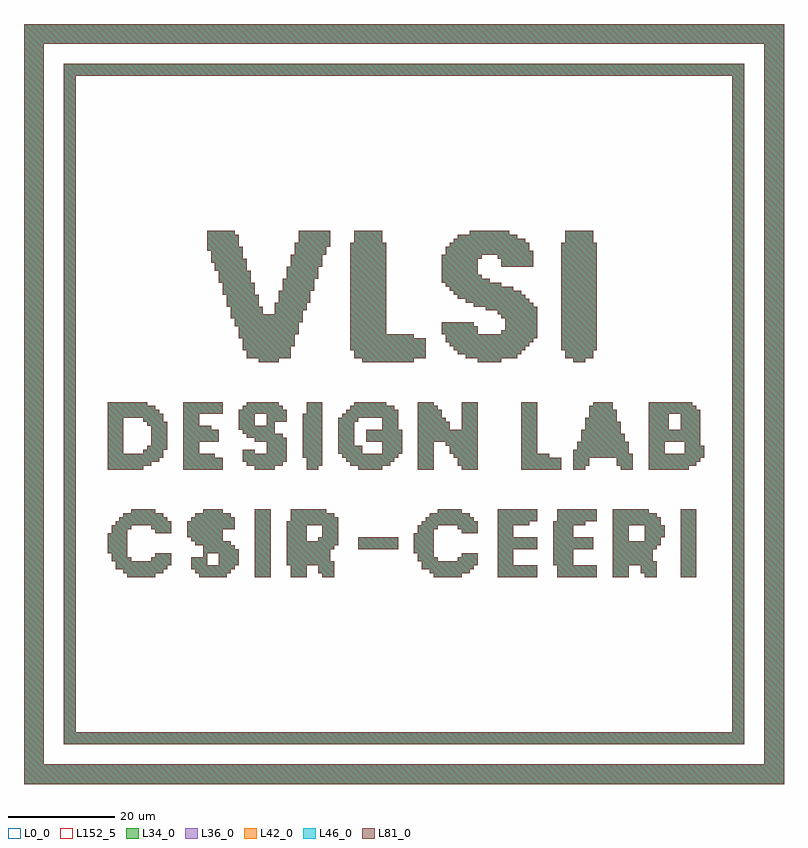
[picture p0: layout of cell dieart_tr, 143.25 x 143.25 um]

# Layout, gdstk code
import gdstk
lib = gdstk.Library(unit=1e-6, precision=1e-09)
def R(c, l, rs):  # rectangles x0, y0, x1, y1
    for r in rs: c.add(gdstk.rectangle(r[:2], r[2:], *l))
def A(c, l, x, y, w, h, nx, ny, dx, dy):  # array of equal rectangles
    R(c, l, [(x+i*dx, y+j*dy, x+i*dx+w, y+j*dy+h) for i in range(nx) for j in range(ny)])
L0_0 = (0, 0)
L34_0 = (34, 0)
L36_0 = (36, 0)
L42_0 = (42, 0)
L46_0 = (46, 0)
L81_0 = (81, 0)
L152_5 = (152, 5)

dieart_tr = lib.new_cell('dieart_tr')
R(dieart_tr, L0_0, [(0,0,143.25,143.25)])
A(dieart_tr, L34_0, 89.25, 39, 7.5, 2.25, 1, 3, 0, 5.25)
A(dieart_tr, L34_0, 32.25, 39.75, 6.75, 0.75, 1, 3, 0, 5.25)
R(dieart_tr, L34_0, [(0,0,143.25,3.75), (0,3.75,3.75,139.5), (139.5,3.75,143.25,139.5), (7.5,7.5,135.75,9.75), (7.5,9.75,9.75,133.5), (133.5,9.75,135.75,133.5), (19.5,39,24.75,39.75), (33,39,38.25,39.75), (43.5,39,46.5,51.75), (50.25,39,53.25,41.25), (56.25,39,58.5,39.75), (77.25,39,82.5,39.75), (100.5,39,108,41.25), (111,39,114,41.25), (117,39,119.25,39.75), (123.75,39,126.75,51.75), (18.75,39.75,26.25,40.5), (55.5,39.75,58.5,41.25), (76.5,39.75,84,40.5), (116.25,39.75,119.25,41.25), (17.25,40.5,27,41.25), (31.5,40.5,39.75,41.25), (75,40.5,84.75,41.25), (17.25,41.25,27.75,42), (31.5,41.25,34.5,42.75), (36.75,41.25,40.5,43.5), (49.5,41.25,58.5,42), (75,41.25,85.5,42), (89.25,41.25,92.25,44.25), (99.75,41.25,103.5,44.25), (111,41.25,119.25,42), (16.5,42,20.25,42.75), (24,42,27.75,42.75), (49.5,42,57.75,44.25), (74.25,42,78,42.75), (81.75,42,85.5,42.75), (111,42,118.5,44.25), (16.5,42.75,19.5,43.5), (24.75,42.75,27.75,43.5), (33.75,42.75,34.5,43.5), (74.25,42.75,77.25,43.5), (82.5,42.75,85.5,43.5), (15.75,43.5,19.5,47.25), (33.75,43.5,40.5,44.25), (73.5,43.5,77.25,47.25), (33.75,44.25,39.75,45), (49.5,44.25,58.5,45), (63,44.25,70.5,46.5), (99.75,44.25,107.25,46.5), (111,44.25,119.25,45), (49.5,45,59.25,45.75), (111,45,120,45.75), (31.5,45.75,37.5,46.5), (49.5,45.75,53.25,48.75), (55.5,45.75,59.25,46.5), (111,45.75,114,48.75), (117,45.75,120,46.5), (30.75,46.5,37.5,48), (56.25,46.5,59.25,48.75), (89.25,46.5,92.25,48.75), (99.75,46.5,103.5,48.75), (117,46.5,120.75,48.75), (16.5,47.25,19.5,48), (24.75,47.25,27.75,48), (74.25,47.25,77.25,48), (82.5,47.25,85.5,48), (16.5,48,20.25,48.75), (24,48,27.75,48.75), (30.75,48,39.75,49.5), (74.25,48,78,48.75), (81.75,48,85.5,48.75), (17.25,48.75,27.75,49.5), (49.5,48.75,59.25,49.5), (75,48.75,85.5,49.5), (89.25,48.75,95.25,49.5), (99.75,48.75,105.75,49.5), (111,48.75,120,50.25), (18,49.5,27,50.25), (31.5,49.5,39.75,50.25), (50.25,49.5,59.25,50.25), (75.75,49.5,84.75,50.25), (100.5,49.5,108,51.75), (18.75,50.25,26.25,51), (50.25,50.25,58.5,51), (76.5,50.25,84,51), (111,50.25,119.25,51), (20.25,51,24.75,51.75), (33.75,51,37.5,51.75), (50.25,51,57,51.75), (78,51,82.5,51.75), (111,51,117.75,51.75), (15.75,59.25,22.5,60), (30,59.25,37.5,61.5), (43.5,59.25,47.25,60), (53.25,59.25,55.5,60), (63,59.25,67.5,60), (74.25,59.25,77.25,64.5), (82.5,59.25,85.5,60), (93.75,59.25,101.25,61.5), (103.5,59.25,105.75,60), (112.5,59.25,114.75,60), (117.75,59.25,125.25,60), (15.75,60,24,60.75), (42,60,48.75,60.75), (53.25,60,56.25,61.5), (61.5,60,69,60.75), (81.75,60,85.5,61.5), (103.5,60,106.5,61.5), (111.75,60,114.75,61.5), (117.75,60,126.75,60.75), (15.75,60.75,25.5,61.5), (41.25,60.75,49.5,62.25), (60.75,60.75,69.75,61.5), (117.75,60.75,127.5,61.5), (15.75,61.5,26.25,62.25), (30,61.5,36,62.25), (52.5,61.5,56.25,69.75), (60,61.5,70.5,62.25), (81,61.5,85.5,62.25), (93.75,61.5,99,62.25), (103.5,61.5,114.75,62.25), (117.75,61.5,128.25,62.25), (15.75,62.25,18.75,69), (22.5,62.25,26.25,63), (30,62.25,33,64.5), (41.25,62.25,43.5,63), (45.75,62.25,49.5,64.5), (59.25,62.25,63.75,63.75), (67.5,62.25,71.25,64.5), (80.25,62.25,85.5,63.75), (93.75,62.25,96.75,72), (103.5,62.25,114,63), (117.75,62.25,120.75,64.5), (124.5,62.25,128.25,63.75), (23.25,63,27,63.75), (104.25,63,114,64.5), (24,63.75,27,67.5), (59.25,63.75,62.25,68.25), (79.5,63.75,85.5,64.5), (124.5,63.75,127.5,64.5), (30,64.5,36.75,66.75), (43.5,64.5,49.5,65.25), (64.5,64.5,71.25,66.75), (74.25,64.5,85.5,66.75), (105,64.5,113.25,66), (117.75,64.5,127.5,66.75), (42,65.25,48.75,66), (41.25,66,47.25,66.75), (105,66,112.5,66.75), (30,66.75,35.25,67.5), (40.5,66.75,47.25,67.5), (67.5,66.75,70.5,69), (74.25,66.75,80.25,68.25), (82.5,66.75,85.5,72), (105.75,66.75,112.5,68.25), (117.75,66.75,121.5,69.75), (123.75,66.75,127.5,69.75), (23.25,67.5,27,68.25), (30,67.5,33,69.75), (40.5,67.5,43.5,69.75), (45.75,67.5,47.25,68.25), (22.5,68.25,26.25,69), (45.75,68.25,49.5,69.75), (59.25,68.25,63,69), (74.25,68.25,79.5,69), (105.75,68.25,111.75,69), (15.75,69,26.25,69.75), (60,69,70.5,69.75), (74.25,69,78.75,70.5), (106.5,69,111.75,70.5), (15.75,69.75,25.5,70.5), (30,69.75,37.5,72), (40.5,69.75,49.5,70.5), (53.25,69.75,56.25,72), (60.75,69.75,70.5,70.5), (117.75,69.75,127.5,70.5), (15.75,70.5,24.75,71.25), (41.25,70.5,48.75,71.25), (61.5,70.5,69.75,71.25), (74.25,70.5,78,71.25), (106.5,70.5,111,71.25), (117.75,70.5,126.75,71.25), (15.75,71.25,23.25,72), (42,71.25,48,72), (62.25,71.25,68.25,72), (74.25,71.25,77.25,72), (107.25,71.25,111,72), (117.75,71.25,126,72), (44.25,79.5,48,80.25), (63.75,79.5,73.5,80.25), (85.5,79.5,90,80.25), (103.5,79.5,105.75,80.25), (42,80.25,50.25,81.75), (62.25,80.25,75.75,81.75), (83.25,80.25,93,81), (102,80.25,107.25,81.75), (81.75,81,93.75,81.75), (41.25,81.75,50.25,82.5), (61.5,81.75,75.75,84), (81,81.75,94.5,82.5), (101.25,81.75,108,102), (41.25,82.5,51,84), (80.25,82.5,95.25,83.25), (79.5,83.25,96,84), (40.5,84,51,84.75), (61.5,84,73.5,84.75), (79.5,84,96.75,84.75), (40.5,84.75,51.75,86.25), (61.5,84.75,68.25,102), (78.75,84.75,85.5,86.25), (90,84.75,96.75,85.5), (90.75,85.5,96.75,87.75), (39.75,86.25,51.75,87), (78.75,86.25,84.75,87), (39.75,87,52.5,87.75), (39,87.75,52.5,88.5), (90,87.75,96.75,88.5), (39,88.5,45,90), (47.25,88.5,52.5,89.25), (89.25,88.5,96.75,89.25), (47.25,89.25,53.25,90.75), (87,89.25,96.75,90), (38.25,90,44.25,92.25), (84.75,90,96,90.75), (48,90.75,54,93), (83.25,90.75,95.25,91.5), (81.75,91.5,94.5,92.25), (37.5,92.25,43.5,94.5), (81,92.25,93.75,93), (48.75,93,54.75,95.25), (80.25,93,92.25,93.75), (79.5,93.75,90,94.5), (36.75,94.5,42.75,96.75), (78.75,94.5,87.75,95.25), (49.5,95.25,55.5,97.5), (78.75,95.25,86.25,96), (78.75,96,85.5,99), (36,96.75,42,98.25), (50.25,97.5,56.25,99.75), (90,97.5,96,99), (35.25,98.25,42,99), (35.25,99,41.25,100.5), (78.75,99,86.25,99.75), (89.25,99,96,99.75), (51,99.75,57,101.25), (79.5,99.75,96,100.5), (34.5,100.5,41.25,101.25), (79.5,100.5,95.25,101.25), (34.5,101.25,40.5,103.5), (51,101.25,57.75,102), (80.25,101.25,95.25,102), (51.75,102,57.75,104.25), (62.25,102,67.5,104.25), (81,102,94.5,102.75), (102,102,107.25,104.25), (81.75,102.75,93,103.5), (34.5,103.5,39.75,104.25), (84,103.5,91.5,104.25), (7.5,133.5,135.75,135.75), (0,139.5,143.25,143.25)])
A(dieart_tr, L36_0, 89.25, 39, 7.5, 2.25, 1, 3, 0, 5.25)
A(dieart_tr, L36_0, 32.25, 39.75, 6.75, 0.75, 1, 3, 0, 5.25)
R(dieart_tr, L36_0, [(0,0,143.25,3.75), (0,3.75,3.75,139.5), (139.5,3.75,143.25,139.5), (7.5,7.5,135.75,9.75), (7.5,9.75,9.75,133.5), (133.5,9.75,135.75,133.5), (19.5,39,24.75,39.75), (33,39,38.25,39.75), (43.5,39,46.5,51.75), (50.25,39,53.25,41.25), (56.25,39,58.5,39.75), (77.25,39,82.5,39.75), (100.5,39,108,41.25), (111,39,114,41.25), (117,39,119.25,39.75), (123.75,39,126.75,51.75), (18.75,39.75,26.25,40.5), (55.5,39.75,58.5,41.25), (76.5,39.75,84,40.5), (116.25,39.75,119.25,41.25), (17.25,40.5,27,41.25), (31.5,40.5,39.75,41.25), (75,40.5,84.75,41.25), (17.25,41.25,27.75,42), (31.5,41.25,34.5,42.75), (36.75,41.25,40.5,43.5), (49.5,41.25,58.5,42), (75,41.25,85.5,42), (89.25,41.25,92.25,44.25), (99.75,41.25,103.5,44.25), (111,41.25,119.25,42), (16.5,42,20.25,42.75), (24,42,27.75,42.75), (49.5,42,57.75,44.25), (74.25,42,78,42.75), (81.75,42,85.5,42.75), (111,42,118.5,44.25), (16.5,42.75,19.5,43.5), (24.75,42.75,27.75,43.5), (33.75,42.75,34.5,43.5), (74.25,42.75,77.25,43.5), (82.5,42.75,85.5,43.5), (15.75,43.5,19.5,47.25), (33.75,43.5,40.5,44.25), (73.5,43.5,77.25,47.25), (33.75,44.25,39.75,45), (49.5,44.25,58.5,45), (63,44.25,70.5,46.5), (99.75,44.25,107.25,46.5), (111,44.25,119.25,45), (49.5,45,59.25,45.75), (111,45,120,45.75), (31.5,45.75,37.5,46.5), (49.5,45.75,53.25,48.75), (55.5,45.75,59.25,46.5), (111,45.75,114,48.75), (117,45.75,120,46.5), (30.75,46.5,37.5,48), (56.25,46.5,59.25,48.75), (89.25,46.5,92.25,48.75), (99.75,46.5,103.5,48.75), (117,46.5,120.75,48.75), (16.5,47.25,19.5,48), (24.75,47.25,27.75,48), (74.25,47.25,77.25,48), (82.5,47.25,85.5,48), (16.5,48,20.25,48.75), (24,48,27.75,48.75), (30.75,48,39.75,49.5), (74.25,48,78,48.75), (81.75,48,85.5,48.75), (17.25,48.75,27.75,49.5), (49.5,48.75,59.25,49.5), (75,48.75,85.5,49.5), (89.25,48.75,95.25,49.5), (99.75,48.75,105.75,49.5), (111,48.75,120,50.25), (18,49.5,27,50.25), (31.5,49.5,39.75,50.25), (50.25,49.5,59.25,50.25), (75.75,49.5,84.75,50.25), (100.5,49.5,108,51.75), (18.75,50.25,26.25,51), (50.25,50.25,58.5,51), (76.5,50.25,84,51), (111,50.25,119.25,51), (20.25,51,24.75,51.75), (33.75,51,37.5,51.75), (50.25,51,57,51.75), (78,51,82.5,51.75), (111,51,117.75,51.75), (15.75,59.25,22.5,60), (30,59.25,37.5,61.5), (43.5,59.25,47.25,60), (53.25,59.25,55.5,60), (63,59.25,67.5,60), (74.25,59.25,77.25,64.5), (82.5,59.25,85.5,60), (93.75,59.25,101.25,61.5), (103.5,59.25,105.75,60), (112.5,59.25,114.75,60), (117.75,59.25,125.25,60), (15.75,60,24,60.75), (42,60,48.75,60.75), (53.25,60,56.25,61.5), (61.5,60,69,60.75), (81.75,60,85.5,61.5), (103.5,60,106.5,61.5), (111.75,60,114.75,61.5), (117.75,60,126.75,60.75), (15.75,60.75,25.5,61.5), (41.25,60.75,49.5,62.25), (60.75,60.75,69.75,61.5), (117.75,60.75,127.5,61.5), (15.75,61.5,26.25,62.25), (30,61.5,36,62.25), (52.5,61.5,56.25,69.75), (60,61.5,70.5,62.25), (81,61.5,85.5,62.25), (93.75,61.5,99,62.25), (103.5,61.5,114.75,62.25), (117.75,61.5,128.25,62.25), (15.75,62.25,18.75,69), (22.5,62.25,26.25,63), (30,62.25,33,64.5), (41.25,62.25,43.5,63), (45.75,62.25,49.5,64.5), (59.25,62.25,63.75,63.75), (67.5,62.25,71.25,64.5), (80.25,62.25,85.5,63.75), (93.75,62.25,96.75,72), (103.5,62.25,114,63), (117.75,62.25,120.75,64.5), (124.5,62.25,128.25,63.75), (23.25,63,27,63.75), (104.25,63,114,64.5), (24,63.75,27,67.5), (59.25,63.75,62.25,68.25), (79.5,63.75,85.5,64.5), (124.5,63.75,127.5,64.5), (30,64.5,36.75,66.75), (43.5,64.5,49.5,65.25), (64.5,64.5,71.25,66.75), (74.25,64.5,85.5,66.75), (105,64.5,113.25,66), (117.75,64.5,127.5,66.75), (42,65.25,48.75,66), (41.25,66,47.25,66.75), (105,66,112.5,66.75), (30,66.75,35.25,67.5), (40.5,66.75,47.25,67.5), (67.5,66.75,70.5,69), (74.25,66.75,80.25,68.25), (82.5,66.75,85.5,72), (105.75,66.75,112.5,68.25), (117.75,66.75,121.5,69.75), (123.75,66.75,127.5,69.75), (23.25,67.5,27,68.25), (30,67.5,33,69.75), (40.5,67.5,43.5,69.75), (45.75,67.5,47.25,68.25), (22.5,68.25,26.25,69), (45.75,68.25,49.5,69.75), (59.25,68.25,63,69), (74.25,68.25,79.5,69), (105.75,68.25,111.75,69), (15.75,69,26.25,69.75), (60,69,70.5,69.75), (74.25,69,78.75,70.5), (106.5,69,111.75,70.5), (15.75,69.75,25.5,70.5), (30,69.75,37.5,72), (40.5,69.75,49.5,70.5), (53.25,69.75,56.25,72), (60.75,69.75,70.5,70.5), (117.75,69.75,127.5,70.5), (15.75,70.5,24.75,71.25), (41.25,70.5,48.75,71.25), (61.5,70.5,69.75,71.25), (74.25,70.5,78,71.25), (106.5,70.5,111,71.25), (117.75,70.5,126.75,71.25), (15.75,71.25,23.25,72), (42,71.25,48,72), (62.25,71.25,68.25,72), (74.25,71.25,77.25,72), (107.25,71.25,111,72), (117.75,71.25,126,72), (44.25,79.5,48,80.25), (63.75,79.5,73.5,80.25), (85.5,79.5,90,80.25), (103.5,79.5,105.75,80.25), (42,80.25,50.25,81.75), (62.25,80.25,75.75,81.75), (83.25,80.25,93,81), (102,80.25,107.25,81.75), (81.75,81,93.75,81.75), (41.25,81.75,50.25,82.5), (61.5,81.75,75.75,84), (81,81.75,94.5,82.5), (101.25,81.75,108,102), (41.25,82.5,51,84), (80.25,82.5,95.25,83.25), (79.5,83.25,96,84), (40.5,84,51,84.75), (61.5,84,73.5,84.75), (79.5,84,96.75,84.75), (40.5,84.75,51.75,86.25), (61.5,84.75,68.25,102), (78.75,84.75,85.5,86.25), (90,84.75,96.75,85.5), (90.75,85.5,96.75,87.75), (39.75,86.25,51.75,87), (78.75,86.25,84.75,87), (39.75,87,52.5,87.75), (39,87.75,52.5,88.5), (90,87.75,96.75,88.5), (39,88.5,45,90), (47.25,88.5,52.5,89.25), (89.25,88.5,96.75,89.25), (47.25,89.25,53.25,90.75), (87,89.25,96.75,90), (38.25,90,44.25,92.25), (84.75,90,96,90.75), (48,90.75,54,93), (83.25,90.75,95.25,91.5), (81.75,91.5,94.5,92.25), (37.5,92.25,43.5,94.5), (81,92.25,93.75,93), (48.75,93,54.75,95.25), (80.25,93,92.25,93.75), (79.5,93.75,90,94.5), (36.75,94.5,42.75,96.75), (78.75,94.5,87.75,95.25), (49.5,95.25,55.5,97.5), (78.75,95.25,86.25,96), (78.75,96,85.5,99), (36,96.75,42,98.25), (50.25,97.5,56.25,99.75), (90,97.5,96,99), (35.25,98.25,42,99), (35.25,99,41.25,100.5), (78.75,99,86.25,99.75), (89.25,99,96,99.75), (51,99.75,57,101.25), (79.5,99.75,96,100.5), (34.5,100.5,41.25,101.25), (79.5,100.5,95.25,101.25), (34.5,101.25,40.5,103.5), (51,101.25,57.75,102), (80.25,101.25,95.25,102), (51.75,102,57.75,104.25), (62.25,102,67.5,104.25), (81,102,94.5,102.75), (102,102,107.25,104.25), (81.75,102.75,93,103.5), (34.5,103.5,39.75,104.25), (84,103.5,91.5,104.25), (7.5,133.5,135.75,135.75), (0,139.5,143.25,143.25)])
A(dieart_tr, L42_0, 89.25, 39, 7.5, 2.25, 1, 3, 0, 5.25)
A(dieart_tr, L42_0, 32.25, 39.75, 6.75, 0.75, 1, 3, 0, 5.25)
R(dieart_tr, L42_0, [(0,0,143.25,3.75), (0,3.75,3.75,139.5), (139.5,3.75,143.25,139.5), (7.5,7.5,135.75,9.75), (7.5,9.75,9.75,133.5), (133.5,9.75,135.75,133.5), (19.5,39,24.75,39.75), (33,39,38.25,39.75), (43.5,39,46.5,51.75), (50.25,39,53.25,41.25), (56.25,39,58.5,39.75), (77.25,39,82.5,39.75), (100.5,39,108,41.25), (111,39,114,41.25), (117,39,119.25,39.75), (123.75,39,126.75,51.75), (18.75,39.75,26.25,40.5), (55.5,39.75,58.5,41.25), (76.5,39.75,84,40.5), (116.25,39.75,119.25,41.25), (17.25,40.5,27,41.25), (31.5,40.5,39.75,41.25), (75,40.5,84.75,41.25), (17.25,41.25,27.75,42), (31.5,41.25,34.5,42.75), (36.75,41.25,40.5,43.5), (49.5,41.25,58.5,42), (75,41.25,85.5,42), (89.25,41.25,92.25,44.25), (99.75,41.25,103.5,44.25), (111,41.25,119.25,42), (16.5,42,20.25,42.75), (24,42,27.75,42.75), (49.5,42,57.75,44.25), (74.25,42,78,42.75), (81.75,42,85.5,42.75), (111,42,118.5,44.25), (16.5,42.75,19.5,43.5), (24.75,42.75,27.75,43.5), (33.75,42.75,34.5,43.5), (74.25,42.75,77.25,43.5), (82.5,42.75,85.5,43.5), (15.75,43.5,19.5,47.25), (33.75,43.5,40.5,44.25), (73.5,43.5,77.25,47.25), (33.75,44.25,39.75,45), (49.5,44.25,58.5,45), (63,44.25,70.5,46.5), (99.75,44.25,107.25,46.5), (111,44.25,119.25,45), (49.5,45,59.25,45.75), (111,45,120,45.75), (31.5,45.75,37.5,46.5), (49.5,45.75,53.25,48.75), (55.5,45.75,59.25,46.5), (111,45.75,114,48.75), (117,45.75,120,46.5), (30.75,46.5,37.5,48), (56.25,46.5,59.25,48.75), (89.25,46.5,92.25,48.75), (99.75,46.5,103.5,48.75), (117,46.5,120.75,48.75), (16.5,47.25,19.5,48), (24.75,47.25,27.75,48), (74.25,47.25,77.25,48), (82.5,47.25,85.5,48), (16.5,48,20.25,48.75), (24,48,27.75,48.75), (30.75,48,39.75,49.5), (74.25,48,78,48.75), (81.75,48,85.5,48.75), (17.25,48.75,27.75,49.5), (49.5,48.75,59.25,49.5), (75,48.75,85.5,49.5), (89.25,48.75,95.25,49.5), (99.75,48.75,105.75,49.5), (111,48.75,120,50.25), (18,49.5,27,50.25), (31.5,49.5,39.75,50.25), (50.25,49.5,59.25,50.25), (75.75,49.5,84.75,50.25), (100.5,49.5,108,51.75), (18.75,50.25,26.25,51), (50.25,50.25,58.5,51), (76.5,50.25,84,51), (111,50.25,119.25,51), (20.25,51,24.75,51.75), (33.75,51,37.5,51.75), (50.25,51,57,51.75), (78,51,82.5,51.75), (111,51,117.75,51.75), (15.75,59.25,22.5,60), (30,59.25,37.5,61.5), (43.5,59.25,47.25,60), (53.25,59.25,55.5,60), (63,59.25,67.5,60), (74.25,59.25,77.25,64.5), (82.5,59.25,85.5,60), (93.75,59.25,101.25,61.5), (103.5,59.25,105.75,60), (112.5,59.25,114.75,60), (117.75,59.25,125.25,60), (15.75,60,24,60.75), (42,60,48.75,60.75), (53.25,60,56.25,61.5), (61.5,60,69,60.75), (81.75,60,85.5,61.5), (103.5,60,106.5,61.5), (111.75,60,114.75,61.5), (117.75,60,126.75,60.75), (15.75,60.75,25.5,61.5), (41.25,60.75,49.5,62.25), (60.75,60.75,69.75,61.5), (117.75,60.75,127.5,61.5), (15.75,61.5,26.25,62.25), (30,61.5,36,62.25), (52.5,61.5,56.25,69.75), (60,61.5,70.5,62.25), (81,61.5,85.5,62.25), (93.75,61.5,99,62.25), (103.5,61.5,114.75,62.25), (117.75,61.5,128.25,62.25), (15.75,62.25,18.75,69), (22.5,62.25,26.25,63), (30,62.25,33,64.5), (41.25,62.25,43.5,63), (45.75,62.25,49.5,64.5), (59.25,62.25,63.75,63.75), (67.5,62.25,71.25,64.5), (80.25,62.25,85.5,63.75), (93.75,62.25,96.75,72), (103.5,62.25,114,63), (117.75,62.25,120.75,64.5), (124.5,62.25,128.25,63.75), (23.25,63,27,63.75), (104.25,63,114,64.5), (24,63.75,27,67.5), (59.25,63.75,62.25,68.25), (79.5,63.75,85.5,64.5), (124.5,63.75,127.5,64.5), (30,64.5,36.75,66.75), (43.5,64.5,49.5,65.25), (64.5,64.5,71.25,66.75), (74.25,64.5,85.5,66.75), (105,64.5,113.25,66), (117.75,64.5,127.5,66.75), (42,65.25,48.75,66), (41.25,66,47.25,66.75), (105,66,112.5,66.75), (30,66.75,35.25,67.5), (40.5,66.75,47.25,67.5), (67.5,66.75,70.5,69), (74.25,66.75,80.25,68.25), (82.5,66.75,85.5,72), (105.75,66.75,112.5,68.25), (117.75,66.75,121.5,69.75), (123.75,66.75,127.5,69.75), (23.25,67.5,27,68.25), (30,67.5,33,69.75), (40.5,67.5,43.5,69.75), (45.75,67.5,47.25,68.25), (22.5,68.25,26.25,69), (45.75,68.25,49.5,69.75), (59.25,68.25,63,69), (74.25,68.25,79.5,69), (105.75,68.25,111.75,69), (15.75,69,26.25,69.75), (60,69,70.5,69.75), (74.25,69,78.75,70.5), (106.5,69,111.75,70.5), (15.75,69.75,25.5,70.5), (30,69.75,37.5,72), (40.5,69.75,49.5,70.5), (53.25,69.75,56.25,72), (60.75,69.75,70.5,70.5), (117.75,69.75,127.5,70.5), (15.75,70.5,24.75,71.25), (41.25,70.5,48.75,71.25), (61.5,70.5,69.75,71.25), (74.25,70.5,78,71.25), (106.5,70.5,111,71.25), (117.75,70.5,126.75,71.25), (15.75,71.25,23.25,72), (42,71.25,48,72), (62.25,71.25,68.25,72), (74.25,71.25,77.25,72), (107.25,71.25,111,72), (117.75,71.25,126,72), (44.25,79.5,48,80.25), (63.75,79.5,73.5,80.25), (85.5,79.5,90,80.25), (103.5,79.5,105.75,80.25), (42,80.25,50.25,81.75), (62.25,80.25,75.75,81.75), (83.25,80.25,93,81), (102,80.25,107.25,81.75), (81.75,81,93.75,81.75), (41.25,81.75,50.25,82.5), (61.5,81.75,75.75,84), (81,81.75,94.5,82.5), (101.25,81.75,108,102), (41.25,82.5,51,84), (80.25,82.5,95.25,83.25), (79.5,83.25,96,84), (40.5,84,51,84.75), (61.5,84,73.5,84.75), (79.5,84,96.75,84.75), (40.5,84.75,51.75,86.25), (61.5,84.75,68.25,102), (78.75,84.75,85.5,86.25), (90,84.75,96.75,85.5), (90.75,85.5,96.75,87.75), (39.75,86.25,51.75,87), (78.75,86.25,84.75,87), (39.75,87,52.5,87.75), (39,87.75,52.5,88.5), (90,87.75,96.75,88.5), (39,88.5,45,90), (47.25,88.5,52.5,89.25), (89.25,88.5,96.75,89.25), (47.25,89.25,53.25,90.75), (87,89.25,96.75,90), (38.25,90,44.25,92.25), (84.75,90,96,90.75), (48,90.75,54,93), (83.25,90.75,95.25,91.5), (81.75,91.5,94.5,92.25), (37.5,92.25,43.5,94.5), (81,92.25,93.75,93), (48.75,93,54.75,95.25), (80.25,93,92.25,93.75), (79.5,93.75,90,94.5), (36.75,94.5,42.75,96.75), (78.75,94.5,87.75,95.25), (49.5,95.25,55.5,97.5), (78.75,95.25,86.25,96), (78.75,96,85.5,99), (36,96.75,42,98.25), (50.25,97.5,56.25,99.75), (90,97.5,96,99), (35.25,98.25,42,99), (35.25,99,41.25,100.5), (78.75,99,86.25,99.75), (89.25,99,96,99.75), (51,99.75,57,101.25), (79.5,99.75,96,100.5), (34.5,100.5,41.25,101.25), (79.5,100.5,95.25,101.25), (34.5,101.25,40.5,103.5), (51,101.25,57.75,102), (80.25,101.25,95.25,102), (51.75,102,57.75,104.25), (62.25,102,67.5,104.25), (81,102,94.5,102.75), (102,102,107.25,104.25), (81.75,102.75,93,103.5), (34.5,103.5,39.75,104.25), (84,103.5,91.5,104.25), (7.5,133.5,135.75,135.75), (0,139.5,143.25,143.25)])
A(dieart_tr, L46_0, 89.25, 39, 7.5, 2.25, 1, 3, 0, 5.25)
A(dieart_tr, L46_0, 32.25, 39.75, 6.75, 0.75, 1, 3, 0, 5.25)
R(dieart_tr, L46_0, [(0,0,143.25,3.75), (0,3.75,3.75,139.5), (139.5,3.75,143.25,139.5), (7.5,7.5,135.75,9.75), (7.5,9.75,9.75,133.5), (133.5,9.75,135.75,133.5), (19.5,39,24.75,39.75), (33,39,38.25,39.75), (43.5,39,46.5,51.75), (50.25,39,53.25,41.25), (56.25,39,58.5,39.75), (77.25,39,82.5,39.75), (100.5,39,108,41.25), (111,39,114,41.25), (117,39,119.25,39.75), (123.75,39,126.75,51.75), (18.75,39.75,26.25,40.5), (55.5,39.75,58.5,41.25), (76.5,39.75,84,40.5), (116.25,39.75,119.25,41.25), (17.25,40.5,27,41.25), (31.5,40.5,39.75,41.25), (75,40.5,84.75,41.25), (17.25,41.25,27.75,42), (31.5,41.25,34.5,42.75), (36.75,41.25,40.5,43.5), (49.5,41.25,58.5,42), (75,41.25,85.5,42), (89.25,41.25,92.25,44.25), (99.75,41.25,103.5,44.25), (111,41.25,119.25,42), (16.5,42,20.25,42.75), (24,42,27.75,42.75), (49.5,42,57.75,44.25), (74.25,42,78,42.75), (81.75,42,85.5,42.75), (111,42,118.5,44.25), (16.5,42.75,19.5,43.5), (24.75,42.75,27.75,43.5), (33.75,42.75,34.5,43.5), (74.25,42.75,77.25,43.5), (82.5,42.75,85.5,43.5), (15.75,43.5,19.5,47.25), (33.75,43.5,40.5,44.25), (73.5,43.5,77.25,47.25), (33.75,44.25,39.75,45), (49.5,44.25,58.5,45), (63,44.25,70.5,46.5), (99.75,44.25,107.25,46.5), (111,44.25,119.25,45), (49.5,45,59.25,45.75), (111,45,120,45.75), (31.5,45.75,37.5,46.5), (49.5,45.75,53.25,48.75), (55.5,45.75,59.25,46.5), (111,45.75,114,48.75), (117,45.75,120,46.5), (30.75,46.5,37.5,48), (56.25,46.5,59.25,48.75), (89.25,46.5,92.25,48.75), (99.75,46.5,103.5,48.75), (117,46.5,120.75,48.75), (16.5,47.25,19.5,48), (24.75,47.25,27.75,48), (74.25,47.25,77.25,48), (82.5,47.25,85.5,48), (16.5,48,20.25,48.75), (24,48,27.75,48.75), (30.75,48,39.75,49.5), (74.25,48,78,48.75), (81.75,48,85.5,48.75), (17.25,48.75,27.75,49.5), (49.5,48.75,59.25,49.5), (75,48.75,85.5,49.5), (89.25,48.75,95.25,49.5), (99.75,48.75,105.75,49.5), (111,48.75,120,50.25), (18,49.5,27,50.25), (31.5,49.5,39.75,50.25), (50.25,49.5,59.25,50.25), (75.75,49.5,84.75,50.25), (100.5,49.5,108,51.75), (18.75,50.25,26.25,51), (50.25,50.25,58.5,51), (76.5,50.25,84,51), (111,50.25,119.25,51), (20.25,51,24.75,51.75), (33.75,51,37.5,51.75), (50.25,51,57,51.75), (78,51,82.5,51.75), (111,51,117.75,51.75), (15.75,59.25,22.5,60), (30,59.25,37.5,61.5), (43.5,59.25,47.25,60), (53.25,59.25,55.5,60), (63,59.25,67.5,60), (74.25,59.25,77.25,64.5), (82.5,59.25,85.5,60), (93.75,59.25,101.25,61.5), (103.5,59.25,105.75,60), (112.5,59.25,114.75,60), (117.75,59.25,125.25,60), (15.75,60,24,60.75), (42,60,48.75,60.75), (53.25,60,56.25,61.5), (61.5,60,69,60.75), (81.75,60,85.5,61.5), (103.5,60,106.5,61.5), (111.75,60,114.75,61.5), (117.75,60,126.75,60.75), (15.75,60.75,25.5,61.5), (41.25,60.75,49.5,62.25), (60.75,60.75,69.75,61.5), (117.75,60.75,127.5,61.5), (15.75,61.5,26.25,62.25), (30,61.5,36,62.25), (52.5,61.5,56.25,69.75), (60,61.5,70.5,62.25), (81,61.5,85.5,62.25), (93.75,61.5,99,62.25), (103.5,61.5,114.75,62.25), (117.75,61.5,128.25,62.25), (15.75,62.25,18.75,69), (22.5,62.25,26.25,63), (30,62.25,33,64.5), (41.25,62.25,43.5,63), (45.75,62.25,49.5,64.5), (59.25,62.25,63.75,63.75), (67.5,62.25,71.25,64.5), (80.25,62.25,85.5,63.75), (93.75,62.25,96.75,72), (103.5,62.25,114,63), (117.75,62.25,120.75,64.5), (124.5,62.25,128.25,63.75), (23.25,63,27,63.75), (104.25,63,114,64.5), (24,63.75,27,67.5), (59.25,63.75,62.25,68.25), (79.5,63.75,85.5,64.5), (124.5,63.75,127.5,64.5), (30,64.5,36.75,66.75), (43.5,64.5,49.5,65.25), (64.5,64.5,71.25,66.75), (74.25,64.5,85.5,66.75), (105,64.5,113.25,66), (117.75,64.5,127.5,66.75), (42,65.25,48.75,66), (41.25,66,47.25,66.75), (105,66,112.5,66.75), (30,66.75,35.25,67.5), (40.5,66.75,47.25,67.5), (67.5,66.75,70.5,69), (74.25,66.75,80.25,68.25), (82.5,66.75,85.5,72), (105.75,66.75,112.5,68.25), (117.75,66.75,121.5,69.75), (123.75,66.75,127.5,69.75), (23.25,67.5,27,68.25), (30,67.5,33,69.75), (40.5,67.5,43.5,69.75), (45.75,67.5,47.25,68.25), (22.5,68.25,26.25,69), (45.75,68.25,49.5,69.75), (59.25,68.25,63,69), (74.25,68.25,79.5,69), (105.75,68.25,111.75,69), (15.75,69,26.25,69.75), (60,69,70.5,69.75), (74.25,69,78.75,70.5), (106.5,69,111.75,70.5), (15.75,69.75,25.5,70.5), (30,69.75,37.5,72), (40.5,69.75,49.5,70.5), (53.25,69.75,56.25,72), (60.75,69.75,70.5,70.5), (117.75,69.75,127.5,70.5), (15.75,70.5,24.75,71.25), (41.25,70.5,48.75,71.25), (61.5,70.5,69.75,71.25), (74.25,70.5,78,71.25), (106.5,70.5,111,71.25), (117.75,70.5,126.75,71.25), (15.75,71.25,23.25,72), (42,71.25,48,72), (62.25,71.25,68.25,72), (74.25,71.25,77.25,72), (107.25,71.25,111,72), (117.75,71.25,126,72), (44.25,79.5,48,80.25), (63.75,79.5,73.5,80.25), (85.5,79.5,90,80.25), (103.5,79.5,105.75,80.25), (42,80.25,50.25,81.75), (62.25,80.25,75.75,81.75), (83.25,80.25,93,81), (102,80.25,107.25,81.75), (81.75,81,93.75,81.75), (41.25,81.75,50.25,82.5), (61.5,81.75,75.75,84), (81,81.75,94.5,82.5), (101.25,81.75,108,102), (41.25,82.5,51,84), (80.25,82.5,95.25,83.25), (79.5,83.25,96,84), (40.5,84,51,84.75), (61.5,84,73.5,84.75), (79.5,84,96.75,84.75), (40.5,84.75,51.75,86.25), (61.5,84.75,68.25,102), (78.75,84.75,85.5,86.25), (90,84.75,96.75,85.5), (90.75,85.5,96.75,87.75), (39.75,86.25,51.75,87), (78.75,86.25,84.75,87), (39.75,87,52.5,87.75), (39,87.75,52.5,88.5), (90,87.75,96.75,88.5), (39,88.5,45,90), (47.25,88.5,52.5,89.25), (89.25,88.5,96.75,89.25), (47.25,89.25,53.25,90.75), (87,89.25,96.75,90), (38.25,90,44.25,92.25), (84.75,90,96,90.75), (48,90.75,54,93), (83.25,90.75,95.25,91.5), (81.75,91.5,94.5,92.25), (37.5,92.25,43.5,94.5), (81,92.25,93.75,93), (48.75,93,54.75,95.25), (80.25,93,92.25,93.75), (79.5,93.75,90,94.5), (36.75,94.5,42.75,96.75), (78.75,94.5,87.75,95.25), (49.5,95.25,55.5,97.5), (78.75,95.25,86.25,96), (78.75,96,85.5,99), (36,96.75,42,98.25), (50.25,97.5,56.25,99.75), (90,97.5,96,99), (35.25,98.25,42,99), (35.25,99,41.25,100.5), (78.75,99,86.25,99.75), (89.25,99,96,99.75), (51,99.75,57,101.25), (79.5,99.75,96,100.5), (34.5,100.5,41.25,101.25), (79.5,100.5,95.25,101.25), (34.5,101.25,40.5,103.5), (51,101.25,57.75,102), (80.25,101.25,95.25,102), (51.75,102,57.75,104.25), (62.25,102,67.5,104.25), (81,102,94.5,102.75), (102,102,107.25,104.25), (81.75,102.75,93,103.5), (34.5,103.5,39.75,104.25), (84,103.5,91.5,104.25), (7.5,133.5,135.75,135.75), (0,139.5,143.25,143.25)])
A(dieart_tr, L81_0, 89.25, 39, 7.5, 2.25, 1, 3, 0, 5.25)
A(dieart_tr, L81_0, 32.25, 39.75, 6.75, 0.75, 1, 3, 0, 5.25)
R(dieart_tr, L81_0, [(0,0,143.25,3.75), (0,3.75,3.75,139.5), (139.5,3.75,143.25,139.5), (7.5,7.5,135.75,9.75), (7.5,9.75,9.75,133.5), (133.5,9.75,135.75,133.5), (19.5,39,24.75,39.75), (33,39,38.25,39.75), (43.5,39,46.5,51.75), (50.25,39,53.25,41.25), (56.25,39,58.5,39.75), (77.25,39,82.5,39.75), (100.5,39,108,41.25), (111,39,114,41.25), (117,39,119.25,39.75), (123.75,39,126.75,51.75), (18.75,39.75,26.25,40.5), (55.5,39.75,58.5,41.25), (76.5,39.75,84,40.5), (116.25,39.75,119.25,41.25), (17.25,40.5,27,41.25), (31.5,40.5,39.75,41.25), (75,40.5,84.75,41.25), (17.25,41.25,27.75,42), (31.5,41.25,34.5,42.75), (36.75,41.25,40.5,43.5), (49.5,41.25,58.5,42), (75,41.25,85.5,42), (89.25,41.25,92.25,44.25), (99.75,41.25,103.5,44.25), (111,41.25,119.25,42), (16.5,42,20.25,42.75), (24,42,27.75,42.75), (49.5,42,57.75,44.25), (74.25,42,78,42.75), (81.75,42,85.5,42.75), (111,42,118.5,44.25), (16.5,42.75,19.5,43.5), (24.75,42.75,27.75,43.5), (33.75,42.75,34.5,43.5), (74.25,42.75,77.25,43.5), (82.5,42.75,85.5,43.5), (15.75,43.5,19.5,47.25), (33.75,43.5,40.5,44.25), (73.5,43.5,77.25,47.25), (33.75,44.25,39.75,45), (49.5,44.25,58.5,45), (63,44.25,70.5,46.5), (99.75,44.25,107.25,46.5), (111,44.25,119.25,45), (49.5,45,59.25,45.75), (111,45,120,45.75), (31.5,45.75,37.5,46.5), (49.5,45.75,53.25,48.75), (55.5,45.75,59.25,46.5), (111,45.75,114,48.75), (117,45.75,120,46.5), (30.75,46.5,37.5,48), (56.25,46.5,59.25,48.75), (89.25,46.5,92.25,48.75), (99.75,46.5,103.5,48.75), (117,46.5,120.75,48.75), (16.5,47.25,19.5,48), (24.75,47.25,27.75,48), (74.25,47.25,77.25,48), (82.5,47.25,85.5,48), (16.5,48,20.25,48.75), (24,48,27.75,48.75), (30.75,48,39.75,49.5), (74.25,48,78,48.75), (81.75,48,85.5,48.75), (17.25,48.75,27.75,49.5), (49.5,48.75,59.25,49.5), (75,48.75,85.5,49.5), (89.25,48.75,95.25,49.5), (99.75,48.75,105.75,49.5), (111,48.75,120,50.25), (18,49.5,27,50.25), (31.5,49.5,39.75,50.25), (50.25,49.5,59.25,50.25), (75.75,49.5,84.75,50.25), (100.5,49.5,108,51.75), (18.75,50.25,26.25,51), (50.25,50.25,58.5,51), (76.5,50.25,84,51), (111,50.25,119.25,51), (20.25,51,24.75,51.75), (33.75,51,37.5,51.75), (50.25,51,57,51.75), (78,51,82.5,51.75), (111,51,117.75,51.75), (15.75,59.25,22.5,60), (30,59.25,37.5,61.5), (43.5,59.25,47.25,60), (53.25,59.25,55.5,60), (63,59.25,67.5,60), (74.25,59.25,77.25,64.5), (82.5,59.25,85.5,60), (93.75,59.25,101.25,61.5), (103.5,59.25,105.75,60), (112.5,59.25,114.75,60), (117.75,59.25,125.25,60), (15.75,60,24,60.75), (42,60,48.75,60.75), (53.25,60,56.25,61.5), (61.5,60,69,60.75), (81.75,60,85.5,61.5), (103.5,60,106.5,61.5), (111.75,60,114.75,61.5), (117.75,60,126.75,60.75), (15.75,60.75,25.5,61.5), (41.25,60.75,49.5,62.25), (60.75,60.75,69.75,61.5), (117.75,60.75,127.5,61.5), (15.75,61.5,26.25,62.25), (30,61.5,36,62.25), (52.5,61.5,56.25,69.75), (60,61.5,70.5,62.25), (81,61.5,85.5,62.25), (93.75,61.5,99,62.25), (103.5,61.5,114.75,62.25), (117.75,61.5,128.25,62.25), (15.75,62.25,18.75,69), (22.5,62.25,26.25,63), (30,62.25,33,64.5), (41.25,62.25,43.5,63), (45.75,62.25,49.5,64.5), (59.25,62.25,63.75,63.75), (67.5,62.25,71.25,64.5), (80.25,62.25,85.5,63.75), (93.75,62.25,96.75,72), (103.5,62.25,114,63), (117.75,62.25,120.75,64.5), (124.5,62.25,128.25,63.75), (23.25,63,27,63.75), (104.25,63,114,64.5), (24,63.75,27,67.5), (59.25,63.75,62.25,68.25), (79.5,63.75,85.5,64.5), (124.5,63.75,127.5,64.5), (30,64.5,36.75,66.75), (43.5,64.5,49.5,65.25), (64.5,64.5,71.25,66.75), (74.25,64.5,85.5,66.75), (105,64.5,113.25,66), (117.75,64.5,127.5,66.75), (42,65.25,48.75,66), (41.25,66,47.25,66.75), (105,66,112.5,66.75), (30,66.75,35.25,67.5), (40.5,66.75,47.25,67.5), (67.5,66.75,70.5,69), (74.25,66.75,80.25,68.25), (82.5,66.75,85.5,72), (105.75,66.75,112.5,68.25), (117.75,66.75,121.5,69.75), (123.75,66.75,127.5,69.75), (23.25,67.5,27,68.25), (30,67.5,33,69.75), (40.5,67.5,43.5,69.75), (45.75,67.5,47.25,68.25), (22.5,68.25,26.25,69), (45.75,68.25,49.5,69.75), (59.25,68.25,63,69), (74.25,68.25,79.5,69), (105.75,68.25,111.75,69), (15.75,69,26.25,69.75), (60,69,70.5,69.75), (74.25,69,78.75,70.5), (106.5,69,111.75,70.5), (15.75,69.75,25.5,70.5), (30,69.75,37.5,72), (40.5,69.75,49.5,70.5), (53.25,69.75,56.25,72), (60.75,69.75,70.5,70.5), (117.75,69.75,127.5,70.5), (15.75,70.5,24.75,71.25), (41.25,70.5,48.75,71.25), (61.5,70.5,69.75,71.25), (74.25,70.5,78,71.25), (106.5,70.5,111,71.25), (117.75,70.5,126.75,71.25), (15.75,71.25,23.25,72), (42,71.25,48,72), (62.25,71.25,68.25,72), (74.25,71.25,77.25,72), (107.25,71.25,111,72), (117.75,71.25,126,72), (44.25,79.5,48,80.25), (63.75,79.5,73.5,80.25), (85.5,79.5,90,80.25), (103.5,79.5,105.75,80.25), (42,80.25,50.25,81.75), (62.25,80.25,75.75,81.75), (83.25,80.25,93,81), (102,80.25,107.25,81.75), (81.75,81,93.75,81.75), (41.25,81.75,50.25,82.5), (61.5,81.75,75.75,84), (81,81.75,94.5,82.5), (101.25,81.75,108,102), (41.25,82.5,51,84), (80.25,82.5,95.25,83.25), (79.5,83.25,96,84), (40.5,84,51,84.75), (61.5,84,73.5,84.75), (79.5,84,96.75,84.75), (40.5,84.75,51.75,86.25), (61.5,84.75,68.25,102), (78.75,84.75,85.5,86.25), (90,84.75,96.75,85.5), (90.75,85.5,96.75,87.75), (39.75,86.25,51.75,87), (78.75,86.25,84.75,87), (39.75,87,52.5,87.75), (39,87.75,52.5,88.5), (90,87.75,96.75,88.5), (39,88.5,45,90), (47.25,88.5,52.5,89.25), (89.25,88.5,96.75,89.25), (47.25,89.25,53.25,90.75), (87,89.25,96.75,90), (38.25,90,44.25,92.25), (84.75,90,96,90.75), (48,90.75,54,93), (83.25,90.75,95.25,91.5), (81.75,91.5,94.5,92.25), (37.5,92.25,43.5,94.5), (81,92.25,93.75,93), (48.75,93,54.75,95.25), (80.25,93,92.25,93.75), (79.5,93.75,90,94.5), (36.75,94.5,42.75,96.75), (78.75,94.5,87.75,95.25), (49.5,95.25,55.5,97.5), (78.75,95.25,86.25,96), (78.75,96,85.5,99), (36,96.75,42,98.25), (50.25,97.5,56.25,99.75), (90,97.5,96,99), (35.25,98.25,42,99), (35.25,99,41.25,100.5), (78.75,99,86.25,99.75), (89.25,99,96,99.75), (51,99.75,57,101.25), (79.5,99.75,96,100.5), (34.5,100.5,41.25,101.25), (79.5,100.5,95.25,101.25), (34.5,101.25,40.5,103.5), (51,101.25,57.75,102), (80.25,101.25,95.25,102), (51.75,102,57.75,104.25), (62.25,102,67.5,104.25), (81,102,94.5,102.75), (102,102,107.25,104.25), (81.75,102.75,93,103.5), (34.5,103.5,39.75,104.25), (84,103.5,91.5,104.25), (7.5,133.5,135.75,135.75), (0,139.5,143.25,143.25)])
R(dieart_tr, L152_5, [(0,0,143.25,143.25)])

lib.write_gds('dieart_tr.gds')
